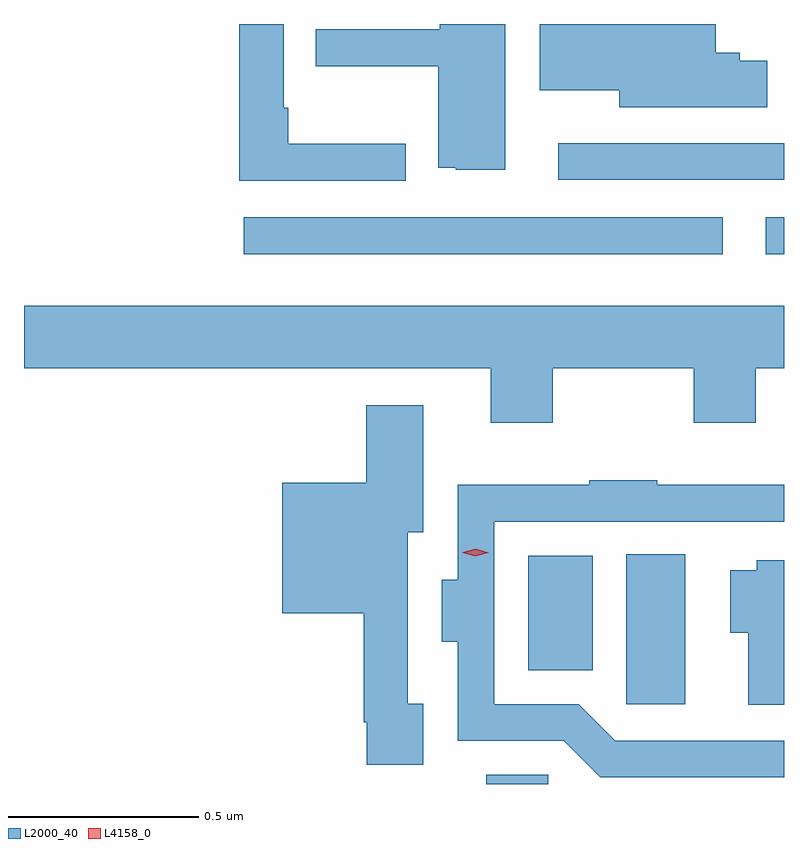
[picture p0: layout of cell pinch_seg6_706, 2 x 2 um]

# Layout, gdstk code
import gdstk
lib = gdstk.Library(unit=1e-6, precision=1e-09)
def R(c, l, rs):  # rectangles x0, y0, x1, y1
    for r in rs: c.add(gdstk.rectangle(r[:2], r[2:], *l))
def P(c, l, *ps):  # polygons
    for p in ps: c.add(gdstk.Polygon(p, *l))
L2000_40 = (2000, 40)
L4158_0 = (4158, 0)

pinch_seg6_706 = lib.new_cell('pinch_seg6_706')
R(pinch_seg6_706, L2000_40, [(439.163,928.926,439.326,928.95), (439.532,929.136,439.687,929.531), (439.274,929.225,439.444,929.527), (438.525,930.32,439.786,930.417), (439.899,930.32,439.947,930.417), (439.353,930.516,439.947,930.612)])
P(pinch_seg6_706, L2000_40, [(438.952,930.611),(438.643,930.611),(438.643,930.706),(438.63,930.706),(438.63,930.926),(438.514,930.926),(438.514,930.513),(438.952,930.513)],
  [(439.903,930.829),(439.83,930.829),(439.83,930.85),(439.768,930.85),(439.768,930.926),(439.304,930.926),(439.304,930.752),(439.514,930.752),(439.514,930.707),(439.903,930.707)],
  [(439.213,930.926),(439.041,930.926),(439.041,930.912),(438.715,930.912),(438.715,930.815),(439.037,930.815),(439.037,930.548),(439.083,930.548),(439.083,930.542),(439.213,930.542)],
  [(439.339,930.02),(439.709,930.02),(439.709,929.877),(439.873,929.877),(439.873,930.02),(439.947,930.02),(439.947,930.184),(437.947,930.184),(437.947,930.02),(439.175,930.02),(439.175,929.877),(439.339,929.877)],
  [(438.997,929.137),(438.957,929.137),(438.957,929.588),(438.997,929.588),(438.997,929.923),(438.848,929.923),(438.848,929.719),(438.626,929.719),(438.626,929.375),(438.841,929.375),(438.841,929.089),(438.849,929.089),(438.849,928.977),(438.997,928.977)],
  [(439.947,929.04),(439.503,929.04),(439.407,929.136),(439.185,929.136),(439.185,929.616),(439.947,929.616),(439.947,929.713),(439.613,929.713),(439.613,929.725),(439.435,929.725),(439.435,929.713),(439.089,929.713),(439.089,929.464),(439.046,929.464),(439.046,929.3),(439.088,929.3),(439.088,929.04),(439.368,929.04),(439.464,928.944),(439.947,928.944)],
  [(439.947,929.515),(439.875,929.515),(439.875,929.488),(439.805,929.488),(439.805,929.324),(439.853,929.324),(439.853,929.135),(439.947,929.135)])
P(pinch_seg6_706, L4158_0, [(439.135,929.525),(439.101,929.535),(439.101,929.535),(439.101,929.536),(439.136,929.545),(439.17,929.534),(439.17,929.534),(439.17,929.534)])

lib.write_gds('pinch_seg6_706.gds')
